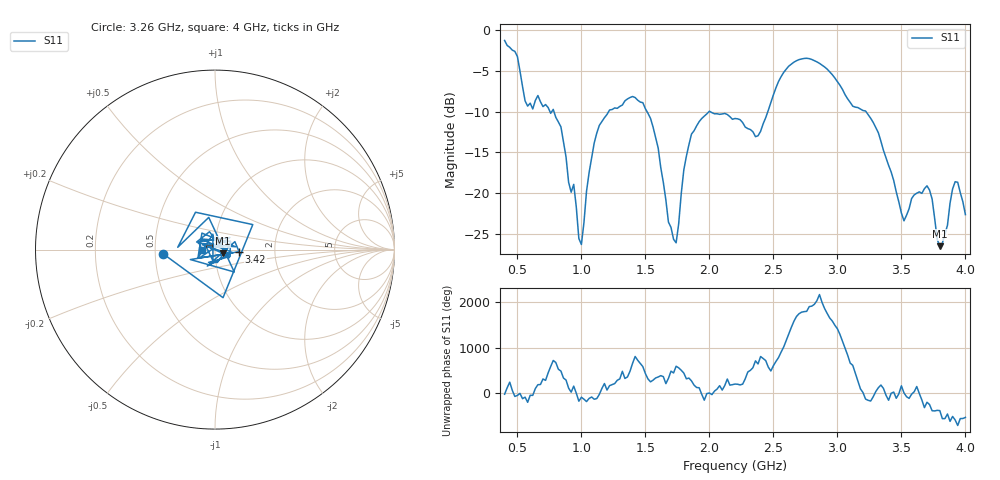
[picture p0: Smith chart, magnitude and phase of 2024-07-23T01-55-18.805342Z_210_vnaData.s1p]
!Created with skrf (http://scikit-rf.org).
# Hz S RI R 50.0
!freq ReS11 ImS11
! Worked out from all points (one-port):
!   181 points, 400 MHz to 4 GHz, reference 50 ohm
!   lowest |S11| = -26.5 dB at 3.8 GHz (marker M1), VSWR 1.10, Z = 54.4 - j2.22 ohm
!   |S11| at or under -10 dB: 1.513 GHz to 1.996 GHz (483.1 MHz wide, 27.5 % of centre); 2.007 GHz to 2.456 GHz (449.2 MHz wide, 20.1 % of centre); 3.224 GHz to end of sweep (the widest 3 of 5)
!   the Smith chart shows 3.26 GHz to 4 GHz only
!   S11 on the Smith chart (normalised r, x): 3.26 GHz: 0.55, -0.03; 3.42 GHz: 1.31, -0.03; 4 GHz: 0.86, -0.01
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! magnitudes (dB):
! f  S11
! 400 MHz  -1.2
! 500 MHz  -3.2
! 580 MHz  -9.3
! 780 MHz  -9.7
! 860 MHz  -13.7
! 1 GHz  -26.3
! 1.12 GHz  -12.6
! 1.3 GHz  -9.3
! 1.48 GHz  -8.9
! 1.6 GHz  -14.5
! 1.68 GHz  -23.6
! 1.74 GHz  -26.1
! 1.76 GHz  -23.8
! 1.8 GHz  -17.2
! 1.86 GHz  -12.7
! 2.2 GHz  -10.8
! 2.38 GHz  -13.0
! 2.66 GHz  -3.9
! 2.88 GHz  -4.3
! 3.1 GHz  -8.8
! 3.26 GHz  -10.8
! 3.42 GHz  -17.4
! 3.52 GHz  -23.4
! 3.56 GHz  -21.9
! 3.7 GHz  -19.1
! 3.8 GHz  -26.5
! 3.92 GHz  -18.6
! 4 GHz  -22.7
